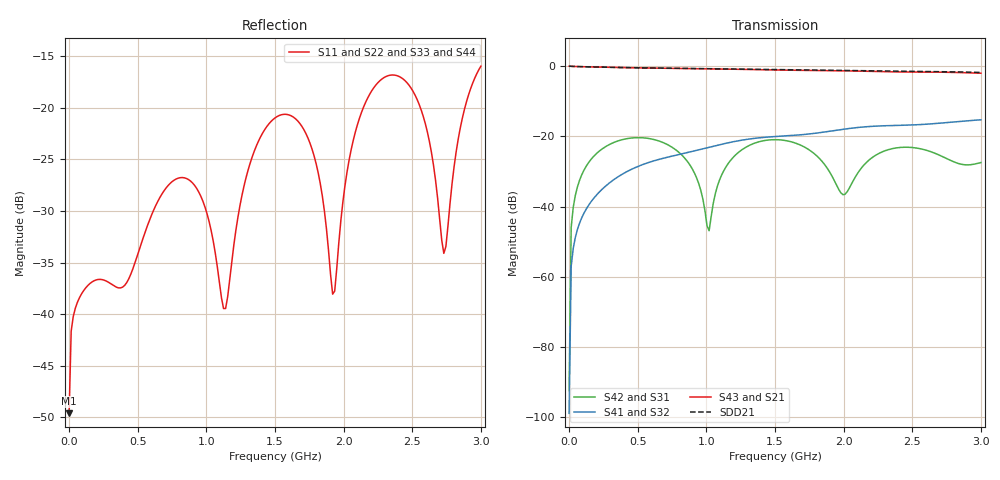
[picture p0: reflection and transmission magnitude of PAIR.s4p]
! PAIR: edge-coupled pair, 0.2 mm gap over 78.4 mm; NEXT = S31, FEXT = S41
! Predicted from examples/coupon/si-coupon.tsx by scripts/predict-coupon.tsx (routed 2.5D ladder, 1338 series cells, ngspice AC).
! SMA pads enter as parallel-plate C; connector bodies are not modelled, so compare through the FIX2X 2x-thru.
! Port order: J11, J12, J13, J14.
# HZ S RI R 50
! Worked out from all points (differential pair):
!   201 points, 50 kHz to 3 GHz, reference 50 ohm
!   strongest paths, dB at 50 kHz, 750 MHz, 1.5 GHz, 2.25 GHz, 3 GHz:
!     S43: 0.0, -0.7, -1.1, -1.6, -2.0
!     S21: 0.0, -0.7, -1.1, -1.6, -2.0
!     S41: -98.9, -25.6, -20.1, -17.1, -15.3
!     S32: -98.9, -25.6, -20.1, -17.1, -15.3
!     S42: -92.4, -23.1, -21.0, -25.0, -27.5
!     S31: -92.4, -23.1, -21.0, -25.0, -27.5
!   taken as a pair (ports 3,1 in; 4,2 out), SDD21 dB: 0.0, -0.6, -1.0, -1.4, -1.8
!   lowest |S11| = -49.6 dB at 50 kHz (marker M1), VSWR 1.01, Z = 50.3 + j0.00918 ohm
!   |S11| at or under -10 dB: start of sweep to end of sweep
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50000  0.00331 9.12e-05  0.9967 -0.000316  1.95e-07 2.4e-05  -1.84e-07 -1.14e-05
       0.9967 -0.000316  0.00331 9.12e-05  -1.84e-07 -1.14e-05  1.95e-07 2.4e-05
       1.95e-07 2.4e-05  -1.84e-07 -1.14e-05  0.00331 9.12e-05  0.9967 -0.000316
       -1.84e-07 -1.14e-05  1.95e-07 2.4e-05  0.9967 -0.000316  0.00331 9.12e-05
4.504925e7  0.0107 -0.000736  0.9673 -0.19  0.00353 0.0139  -0.00129 -0.00338
            0.9673 -0.19  0.0107 -0.000736  -0.00129 -0.00338  0.00353 0.0139
            0.00353 0.0139  -0.00129 -0.00338  0.0107 -0.000736  0.9673 -0.19
            -0.00129 -0.00338  0.00353 0.0139  0.9673 -0.19  0.0107 -0.000736
3.150448e8  0.00196 -0.0137  0.2574 -0.9221  0.0774 0.0205  -0.0225 -0.00604
            0.2574 -0.9221  0.00196 -0.0137  -0.0225 -0.00604  0.0774 0.0205
            0.0774 0.0205  -0.0225 -0.00604  0.00196 -0.0137  0.2574 -0.9221
            -0.0225 -0.00604  0.0774 0.0205  0.2574 -0.9221  0.00196 -0.0137
1.125031e9  -0.00169 -0.0105  -0.1426 0.8959  0.0319 -0.00102  0.0774 0.0111
            -0.1426 0.8959  -0.00169 -0.0105  0.0774 0.0111  0.0319 -0.00102
            0.0319 -0.00102  0.0774 0.0111  -0.00169 -0.0105  -0.1426 0.8959
            0.0774 0.0111  0.0319 -0.00102  -0.1426 0.8959  -0.00169 -0.0105
1.935018e9  0.00387 -0.0124  0.058 -0.8593  -0.0202 -0.0108  -0.1209 -0.00559
            0.058 -0.8593  0.00387 -0.0124  -0.1209 -0.00559  -0.0202 -0.0108
            -0.0202 -0.0108  -0.1209 -0.00559  0.00387 -0.0124  0.058 -0.8593
            -0.1209 -0.00559  -0.0202 -0.0108  0.058 -0.8593  0.00387 -0.0124
2.38501e9  -0.0278 -0.1409  -0.8159 0.1238  -0.0365 -0.0579  0.0326 0.1392
           -0.8159 0.1238  -0.0278 -0.1409  0.0326 0.1392  -0.0365 -0.0579
           -0.0365 -0.0579  0.0326 0.1392  -0.0278 -0.1409  -0.8159 0.1238
           0.0326 0.1392  -0.0365 -0.0579  -0.8159 0.1238  -0.0278 -0.1409
3e9  0.0682 -0.144  0.6801 0.4035  -0.0412 -0.00972  0.0863 -0.1484
     0.6801 0.4035  0.0682 -0.144  0.0863 -0.1484  -0.0412 -0.00972
     -0.0412 -0.00972  0.0863 -0.1484  0.0682 -0.144  0.6801 0.4035
     0.0863 -0.1484  -0.0412 -0.00972  0.6801 0.4035  0.0682 -0.144
